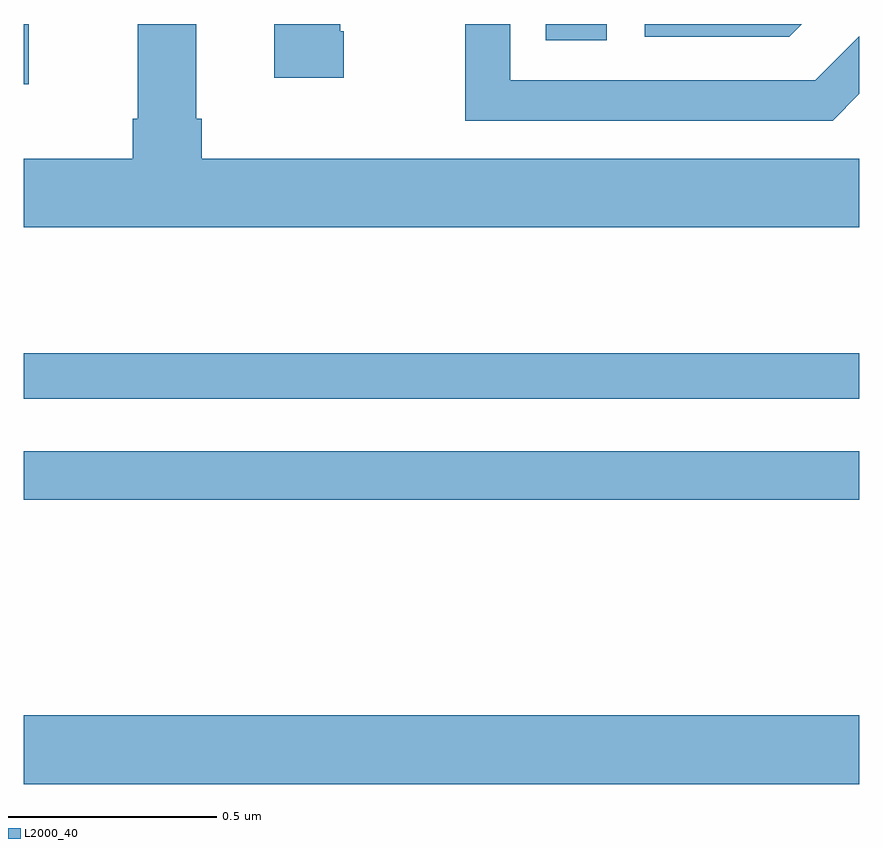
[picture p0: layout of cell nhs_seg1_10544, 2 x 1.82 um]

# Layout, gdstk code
import gdstk
lib = gdstk.Library(unit=1e-6, precision=1e-09)
def R(c, l, rs):  # rectangles x0, y0, x1, y1
    for r in rs: c.add(gdstk.rectangle(r[:2], r[2:], *l))
def P(c, l, *ps):  # polygons
    for p in ps: c.add(gdstk.Polygon(p, *l))
L2000_40 = (2000, 40)

nhs_seg1_10544 = lib.new_cell('nhs_seg1_10544')
R(nhs_seg1_10544, L2000_40, [(242,570.38,244,570.544), (242,571.06,244,571.176), (242,571.302,244,571.411), (242,572.055,242.012,572.199), (243.25,572.16,243.396,572.199)])
P(nhs_seg1_10544, L2000_40, [(244,571.876),(242.426,571.876),(242.426,571.972),(242.413,571.972),(242.413,572.199),(242.273,572.199),(242.273,571.972),(242.261,571.972),(242.261,571.876),(242,571.876),(242,571.712),(244,571.712)],
  [(244,572.032),(244,572.17),(243.894,572.064),(243.165,572.064),(243.165,572.199),(243.057,572.199),(243.057,571.968),(243.936,571.968)],
  [(242.766,572.182),(242.758,572.182),(242.758,572.199),(242.6,572.199),(242.6,572.07),(242.766,572.07)],
  [(243.862,572.199),(243.486,572.199),(243.486,572.169),(243.832,572.169)])

lib.write_gds('nhs_seg1_10544.gds')
